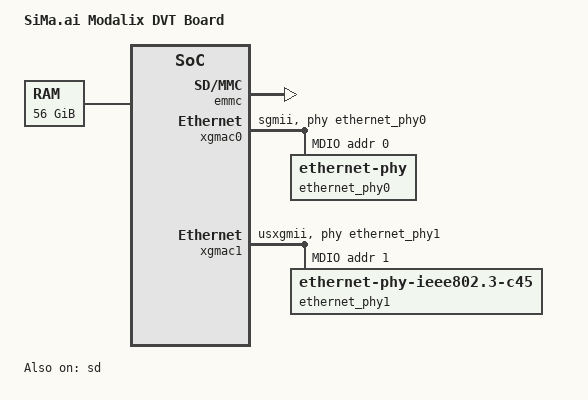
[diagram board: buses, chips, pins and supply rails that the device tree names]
// SPDX-License-Identifier: (GPL-2.0+ OR MIT)
/*
 * Copyright (c) 2023 SiMa ai
 */

/dts-v1/;

#include "simaai-modalix-h.dtsi"


/ {
	model = "SiMa.ai Modalix DVT Board";

	chosen {
		bootargs = "console=ttyS0,1152000n8 root=/dev/ram0 rw rootfstype=ramfs";
		firmware-loader = <&fs_loader0>;
	};

	fs_loader0: fs-loader {
		bootph-all;
		compatible = "u-boot,fs-loader";
		phandlepart = <&emmc 4>;
	};

	aliases {
		console   = &uart0;
		mmc0 = &emmc;
		mmc1 = &sd;
	};

	memory@1000000000 {
		device_type = "memory";
		reg = <0x10 0x00000000 0x0e 0x00000000>;
	};
};

&emmc {
	status = "okay";
};

&sd {
	status = "okay";
};

&xgmac0 {
	phy-mode = "sgmii";
	managed = "in-band-status";
	max-speed = <1000>;
	phy-handle = <&ethernet_phy0>;
	status = "okay";

	mdio0 {
		compatible = "snps,dwmac-mdio";
		#address-cells = <1>;
		#size-cells = <0>;

		ethernet_phy0: ethernet-phy@0 {
			reg = <0>;
		};
	};
};

&xgmac1 {
	phy-handle = <&ethernet_phy1>;
	phy-mode = "usxgmii";
	managed = "in-band-status";
	status = "okay";

	mdio1 {
		compatible = "snps,dwmac-mdio";
		#address-cells = <1>;
		#size-cells = <0>;

		ethernet_phy1: ethernet-phy@1 {
			compatible = "ethernet-phy-ieee802.3-c45";
			reg = <1>;
		};
	};
};
